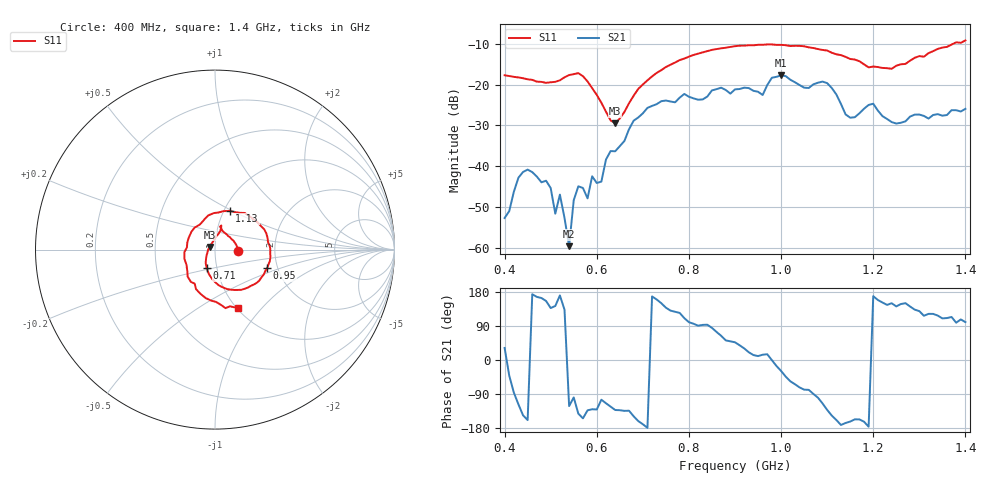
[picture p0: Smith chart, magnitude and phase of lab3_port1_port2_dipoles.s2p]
# HZ S RI R 50
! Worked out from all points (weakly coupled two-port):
!   101 points, 400 MHz to 1.4 GHz, reference 50 ohm
!   highest |S21| = -17.72 dB at 1 GHz (marker M1); lowest = -59.6 dB at 540 MHz (marker M2)
!   lowest |S11| = -29.5 dB at 640 MHz (marker M3), VSWR 1.07, Z = 47 + j1.37 ohm
!   |S11| at or under -10 dB: start of sweep to 1.373 GHz
!   S12 and S22 are empty: the file has one direction only
!   S11 on the Smith chart (normalised r, x): 400 MHz: 1.30, -0.02; 710 MHz: 0.89, -0.19; 950 MHz: 1.76, -0.41; 1.13 GHz: 1.07, +0.48; 1.4 GHz: 1.01, -0.75
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4e8  0.1304 -0.0075  0.00196 0.00122  0 0  0 0
4.5e8  0.1093 0.0401  -0.00845 -0.00332  0 0  0 0
5e8  0.0639 0.086  -0.00395 0.00367  0 0  0 0
5.1e8  0.0507 0.0958  -0.00207 0.00159  0 0  0 0
5.2e8  0.0404 0.1058  -0.00441 0.000746  0 0  0 0
5.4e8  0.0281 0.1283  -0.000546 -0.000888  0 0  0 0
5.5e8  0.0316 0.1311  -0.000583 -0.00378  0 0  0 0
5.7e8  0.0341 0.1226  -0.00485 -0.00237  0 0  0 0
5.8e8  0.0303 0.1054  -0.00274 -0.00295  0 0  0 0
5.9e8  0.0203 0.0884  -0.00482 -0.00576  0 0  0 0
6.1e8  -0.00101 0.0601  -0.00165 -0.00625  0 0  0 0
6.2e8  -0.0109 0.0454  -0.00494 -0.011  0 0  0 0
6.4e8  -0.0303 0.0145  -0.0102 -0.0113  0 0  0 0
7.1e8  -0.0457 -0.1035  -0.0519 -0.000964  0 0  0 0
7.4e8  -0.0259 -0.1485  -0.0542 0.0315  0 0  0 0
9e8  0.2315 -0.1859  0.0601 0.0638  0 0  0 0
9.5e8  0.2905 -0.1044  0.0806 0.0147  0 0  0 0
1e9  0.3083 0.00341  0.1138 -0.0627  0 0  0 0
1.07e9  0.2368 0.153  0.000999 -0.1009  0 0  0 0
1.13e9  0.0823 0.2153  -0.0573 -0.00862  0 0  0 0
1.24e9  -0.1563 0.012  -0.0301 0.0175  0 0  0 0
1.4e9  0.1264 -0.3256  -0.00877 0.0497  0 0  0 0
